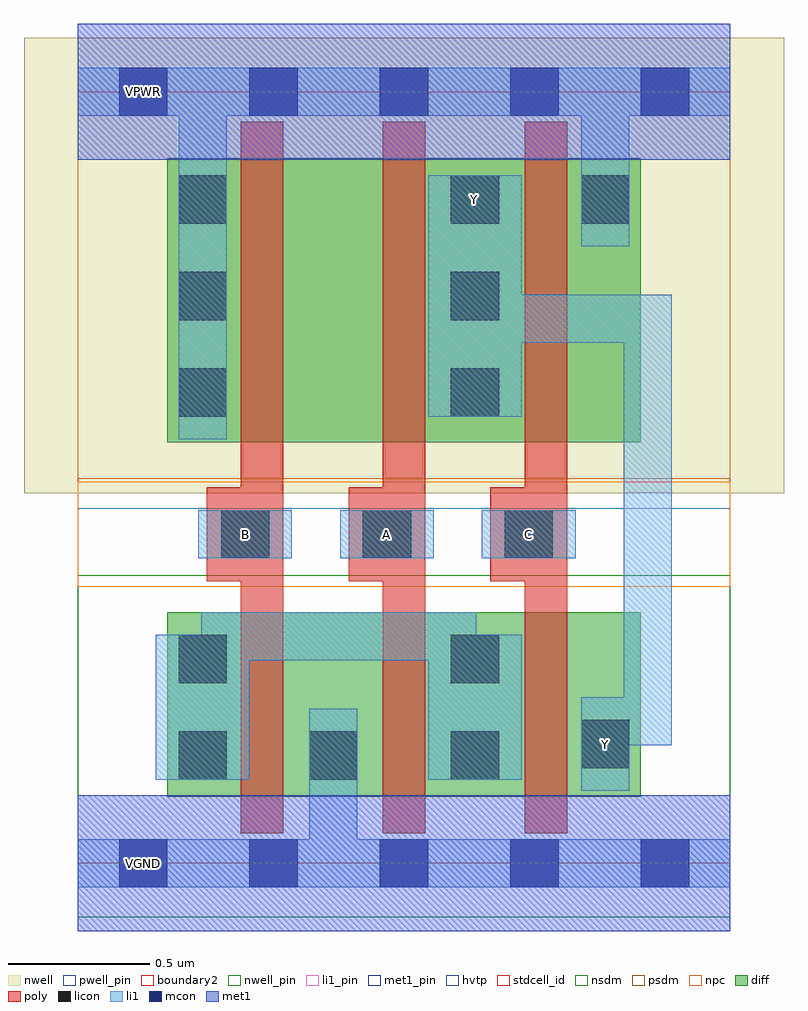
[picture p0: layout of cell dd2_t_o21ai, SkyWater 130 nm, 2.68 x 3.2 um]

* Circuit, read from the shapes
.subckt dd2_t_o21ai A B C VGND VNB VPB VPWR Y
XM1 VGND B n1 VNB sky130_fd_pr__nfet_01v8 w=0.65 l=0.15
XM2 n1 A VGND VNB sky130_fd_pr__nfet_01v8 w=0.65 l=0.15
XM3 Y C n1 VNB sky130_fd_pr__nfet_01v8 w=0.65 l=0.15
XM4 n2 B VPWR VPB sky130_fd_pr__pfet_01v8_hvt w=1 l=0.15
XM5 Y A n2 VPB sky130_fd_pr__pfet_01v8_hvt w=1 l=0.15
XM6 VPWR C Y VPB sky130_fd_pr__pfet_01v8_hvt w=1 l=0.15
.ends

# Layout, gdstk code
import gdstk
lib = gdstk.Library(unit=1e-6, precision=1e-09)
def R(c, l, rs):  # rectangles x0, y0, x1, y1
    for r in rs: c.add(gdstk.rectangle(r[:2], r[2:], *l))
def A(c, l, x, y, w, h, nx, ny, dx, dy):  # array of equal rectangles
    R(c, l, [(x+i*dx, y+j*dy, x+i*dx+w, y+j*dy+h) for i in range(nx) for j in range(ny)])
nwell_pin = (64, 16)
nwell = (64, 20)
diff = (65, 20)
poly = (66, 20)
licon = (66, 44)
li1_pin = (67, 16)
li1 = (67, 20)
mcon = (67, 44)
met1_pin = (68, 16)
met1 = (68, 20)
hvtp = (78, 44)
stdcell_id = (81, 4)
nsdm = (93, 44)
psdm = (94, 20)
npc = (95, 20)
pwell_pin = (122, 16)
boundary2 = (236, 0)

dd2_t_o21ai = lib.new_cell('dd2_t_o21ai')
R(dd2_t_o21ai, nwell_pin, [(0.145,2.635,0.315,2.805)])
R(dd2_t_o21ai, nwell, [(-0.19,1.305,2.49,2.91)])
R(dd2_t_o21ai, diff, [(0.315,0.235,0.9,0.885), (0.9,0.235,1.4,0.885), (1.4,0.235,1.985,0.885), (0.315,1.485,0.9,2.485), (0.9,1.485,1.4,2.485), (1.4,1.485,1.985,2.485)])
A(dd2_t_o21ai, poly, 0.575, 0.105, 0.15, 2.51, 3, 1, 0.5, 0)
A(dd2_t_o21ai, poly, 0.455, 0.995, 0.27, 0.33, 3, 1, 0.5, 0)
A(dd2_t_o21ai, licon, 0.505, 1.075, 0.17, 0.17, 3, 1, 0.5, 0)
A(dd2_t_o21ai, licon, 0.355, 1.575, 0.17, 0.17, 1, 3, 0, 0.34)
A(dd2_t_o21ai, licon, 1.315, 1.575, 0.17, 0.17, 1, 3, 0, 0.34)
R(dd2_t_o21ai, licon, [(0.355,0.295,0.525,0.465), (0.815,0.295,0.985,0.465), (1.315,0.295,1.485,0.465), (1.775,0.335,1.945,0.505), (0.355,0.635,0.525,0.805), (1.315,0.635,1.485,0.805), (1.775,2.255,1.945,2.425)])
A(dd2_t_o21ai, li1_pin, 0.505, 1.075, 0.17, 0.17, 3, 1, 0.5, 0)
R(dd2_t_o21ai, li1_pin, [(1.775,0.335,1.945,0.505), (1.315,2.255,1.485,2.425)])
A(dd2_t_o21ai, li1, 0.425, 1.075, 0.33, 0.17, 3, 1, 0.5, 0)
R(dd2_t_o21ai, li1, [(0,-0.085,2.3,0.085), (0.815,-0.085,0.985,0.545), (1.775,0.255,1.945,0.585), (0.275,0.295,0.605,0.465), (0.275,0.295,0.605,0.805), (0.435,0.295,0.605,0.885), (1.235,0.295,1.565,0.465), (1.235,0.295,1.405,0.885), (1.235,0.295,1.565,0.805), (1.775,0.415,2.095,0.585), (1.925,0.415,2.095,2.005), (0.435,0.715,1.405,0.885), (0.355,1.495,0.525,2.085), (1.235,1.575,1.565,2.085), (0.355,1.835,0.525,2.425), (1.395,1.835,2.095,2.005), (1.395,1.835,1.565,2.425), (1.235,1.915,1.565,2.425), (0.355,2.085,0.525,2.175), (0.355,2.085,0.525,2.175), (0.355,2.085,0.525,2.175), (0.355,2.085,0.525,2.175), (0.355,2.175,0.525,2.805), (1.775,2.175,1.945,2.805), (1.235,2.255,1.565,2.425), (0,2.635,2.3,2.805)])
A(dd2_t_o21ai, mcon, 0.145, -0.085, 0.17, 0.17, 5, 2, 0.46, 2.72)
R(dd2_t_o21ai, met1_pin, [(0.145,-0.085,0.315,0.085), (0.145,2.635,0.315,2.805)])
R(dd2_t_o21ai, met1, [(0,-0.24,2.3,0.24), (0,2.48,2.3,2.96)])
R(dd2_t_o21ai, hvtp, [(0,1.25,2.3,2.72)])
R(dd2_t_o21ai, stdcell_id, [(0,0,2.3,2.72)])
R(dd2_t_o21ai, nsdm, [(0,-0.19,2.3,1.015)])
R(dd2_t_o21ai, psdm, [(0,1.355,2.3,2.91)])
R(dd2_t_o21ai, npc, [(0,0.975,2.3,1.345)])
R(dd2_t_o21ai, pwell_pin, [(0.145,-0.085,0.315,0.085)])
R(dd2_t_o21ai, boundary2, [(0,0,2.3,2.72)])
dd2_t_o21ai.add(gdstk.Label('A', (1.09,1.16), layer=67, texttype=5))
dd2_t_o21ai.add(gdstk.Label('B', (0.59,1.16), layer=67, texttype=5))
dd2_t_o21ai.add(gdstk.Label('C', (1.59,1.16), layer=67, texttype=5))
dd2_t_o21ai.add(gdstk.Label('Y', (1.86,0.42), layer=67, texttype=5))
dd2_t_o21ai.add(gdstk.Label('Y', (1.4,2.34), layer=67, texttype=5))
dd2_t_o21ai.add(gdstk.Label('VGND', (0.23,0), layer=68, texttype=5))
dd2_t_o21ai.add(gdstk.Label('VPWR', (0.23,2.72), layer=68, texttype=5))
dd2_t_o21ai.add(gdstk.Label('VPB', (0.23,2.72), layer=64, texttype=5))
dd2_t_o21ai.add(gdstk.Label('VNB', (0.23,0), layer=64, texttype=59))

lib.write_gds('dd2_t_o21ai.gds')
